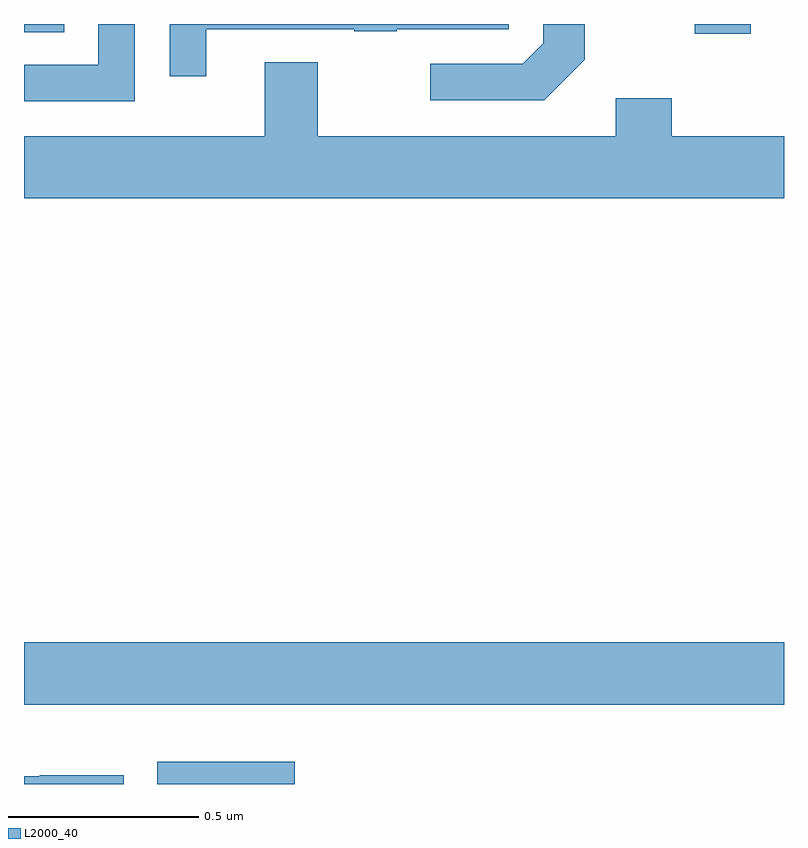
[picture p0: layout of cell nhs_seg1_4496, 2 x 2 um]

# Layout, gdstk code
import gdstk
lib = gdstk.Library(unit=1e-6, precision=1e-09)
def R(c, l, rs):  # rectangles x0, y0, x1, y1
    for r in rs: c.add(gdstk.rectangle(r[:2], r[2:], *l))
def P(c, l, *ps):  # polygons
    for p in ps: c.add(gdstk.Polygon(p, *l))
L2000_40 = (2000, 40)

nhs_seg1_4496 = lib.new_cell('nhs_seg1_4496')
R(nhs_seg1_4496, L2000_40, [(167.351,542.199,167.713,542.257), (167,542.408,169,542.572), (168.765,544.173,168.913,544.199), (167,544.177,167.106,544.199)])
P(nhs_seg1_4496, L2000_40, [(168.475,544.105),(168.475,544.199),(168.366,544.199),(168.366,544.149),(168.312,544.095),(168.069,544.095),(168.069,543.999),(168.369,543.999)],
  [(167.292,544.199),(167.196,544.199),(167.196,544.092),(167,544.092),(167,543.996),(167.292,543.996)],
  [(167.479,544.185),(167.869,544.185),(167.869,544.18),(167.981,544.18),(167.981,544.185),(168.276,544.185),(168.276,544.199),(167.383,544.199),(167.383,544.062),(167.479,544.062)],
  [(169,543.904),(168.705,543.904),(168.705,544.003),(168.557,544.003),(168.557,543.904),(167.773,543.904),(167.773,544.099),(167.633,544.099),(167.633,543.904),(167,543.904),(167,543.74),(169,543.74)],
  [(167.262,542.222),(167.041,542.222),(167.041,542.22),(167,542.22),(167,542.199),(167.262,542.199)])

lib.write_gds('nhs_seg1_4496.gds')
